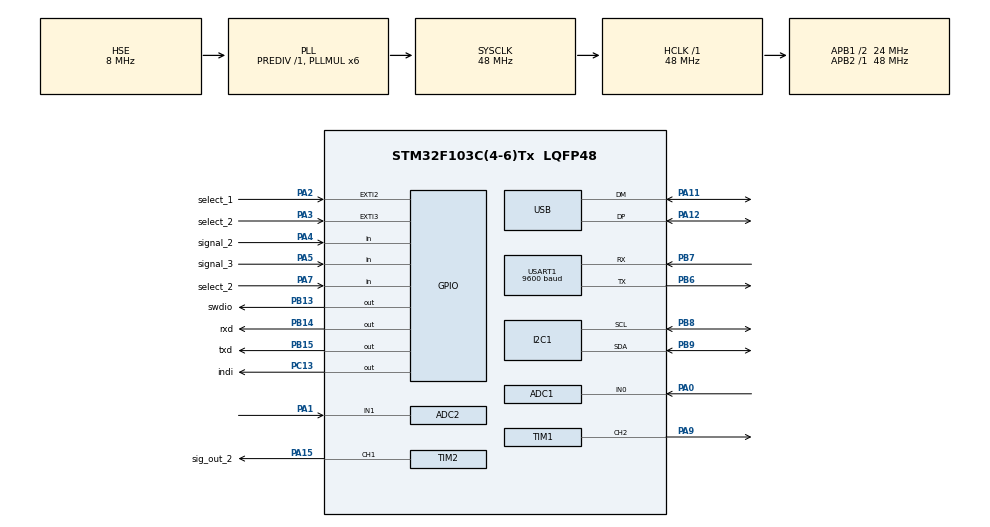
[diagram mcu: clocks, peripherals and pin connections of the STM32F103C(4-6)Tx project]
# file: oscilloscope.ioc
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ADC1.Channel-2\#ChannelRegularConversion=ADC_CHANNEL_0
ADC1.ContinuousConvMode=DISABLE
ADC1.NbrOfConversionFlag=1
ADC1.Rank-2\#ChannelRegularConversion=1
ADC1.SamplingTime-2\#ChannelRegularConversion=ADC_SAMPLETIME_71CYCLES_5
ADC1.master=1
ADC2.Channel-2\#ChannelRegularConversion=ADC_CHANNEL_1
ADC2.NbrOfConversionFlag=1
ADC2.Rank-2\#ChannelRegularConversion=1
ADC2.SamplingTime-2\#ChannelRegularConversion=ADC_SAMPLETIME_71CYCLES_5
FREERTOS.INCLUDE_xTaskGetCurrentTaskHandle=1
FREERTOS.Tasks01=wave_gen,24,128,start_wave_gen,Default,NULL,Dynamic,NULL,NULL;read_wave,24,128,StartRead,Default,NULL,Dynamic,NULL,NULL;display,8,128,StartDisplay,Default,NULL,Dynamic,NULL,NULL;monitor,48,128,StartMonitor,Default,NULL,Dynamic,NULL,NULL
FREERTOS.configTOTAL_HEAP_SIZE=2800
FREERTOS.configUSE_NEWLIB_REENTRANT=1
Mcu.Family=STM32F1
Mcu.Name=STM32F103C(4-6)Tx
Mcu.Package=LQFP48
NVIC.ADC1_2_IRQn=true\:5\:0\:false\:false\:true\:true\:true\:true\:true
NVIC.EXTI2_IRQn=true\:5\:0\:false\:false\:true\:true\:true\:true\:true
NVIC.EXTI3_IRQn=true\:5\:0\:false\:false\:true\:true\:true\:true\:true
NVIC.PriorityGroup=NVIC_PRIORITYGROUP_4
NVIC.TIM3_IRQn=true\:15\:0\:false\:false\:true\:false\:false\:true\:true
NVIC.TimeBase=TIM3_IRQn
NVIC.TimeBaseIP=TIM3
NVIC.USART1_IRQn=true\:5\:0\:false\:false\:true\:true\:true\:true\:true
PA0-WKUP.Signal=SharedAnalog_PA0
PA1.Signal=SharedAnalog_PA1
PA11.Mode=Device
PA11.Signal=USB_DM
PA12.Mode=Device
PA12.Signal=USB_DP
PA13.Mode=Serial_Wire
PA13.Signal=SYS_JTMS-SWDIO
PA14.Mode=Serial_Wire
PA14.Signal=SYS_JTCK-SWCLK
PA15.GPIO_Label=sig_out_2
PA15.Signal=S_TIM2_CH1_ETR
PA2.GPIO_Label=select_1
PA2.GPIO_ModeDefaultEXTI=GPIO_MODE_IT_FALLING
PA2.GPIO_PuPd=GPIO_PULLUP
PA2.Signal=GPXTI2
PA3.GPIO_Label=select_2
PA3.GPIO_ModeDefaultEXTI=GPIO_MODE_IT_FALLING
PA3.GPIO_PuPd=GPIO_PULLUP
PA3.Signal=GPXTI3
PA4.GPIO_Label=signal_2
PA4.Signal=GPIO_Input
PA5.GPIO_Label=signal_3
PA5.Signal=GPIO_Input
PA6.GPIO_Label=sig_out_3
PA6.Signal=S_TIM3_CH1
PA7.GPIO_Label=select_2
PA7.Signal=GPIO_Input
PA9.Signal=S_TIM1_CH2
PB13.GPIO_Label=swdio
PB13.Signal=GPIO_Output
PB14.GPIO_Label=rxd
PB14.Signal=GPIO_Output
PB15.GPIO_Label=txd
PB15.Signal=GPIO_Output
PB6.Mode=Asynchronous
PB6.Signal=USART1_TX
PB7.Mode=Asynchronous
PB7.Signal=USART1_RX
PB8.Mode=I2C
PB8.Signal=I2C1_SCL
PB9.Mode=I2C
PB9.Signal=I2C1_SDA
PC13-TAMPER-RTC.GPIO_Label=indi
PC13-TAMPER-RTC.Signal=GPIO_Output
PD0-OSC_IN.Mode=HSE-External-Oscillator
PD0-OSC_IN.Signal=RCC_OSC_IN
PD1-OSC_OUT.Mode=HSE-External-Oscillator
PD1-OSC_OUT.Signal=RCC_OSC_OUT
ProjectManager.HeapSize=0x200
ProjectManager.StackSize=0x400
ProjectManager.TargetToolchain=STM32CubeIDE
RCC.ADCPresc=RCC_ADCPCLK2_DIV6
RCC.AHBFreq_Value=48000000
RCC.APB1CLKDivider=RCC_HCLK_DIV2
RCC.APB1Freq_Value=24000000
RCC.APB1TimFreq_Value=48000000
RCC.APB2Freq_Value=48000000
RCC.APB2TimFreq_Value=48000000
RCC.HCLKFreq_Value=48000000
RCC.PLLMUL=RCC_PLL_MUL6
RCC.SYSCLKFreq_VALUE=48000000
RCC.SYSCLKSource=RCC_SYSCLKSOURCE_PLLCLK
RCC.USBFreq_Value=48000000
SH.S_TIM1_CH2.0=TIM1_CH2,PWM Generation2 CH2
SH.S_TIM2_CH1_ETR.0=TIM2_CH1,PWM Generation1 CH1
SH.S_TIM3_CH1.0=TIM3_CH1
SH.SharedAnalog_PA0.0=GPIO_Analog
SH.SharedAnalog_PA0.1=ADC1_IN0,IN0
SH.SharedAnalog_PA1.0=GPIO_Analog
SH.SharedAnalog_PA1.1=ADC2_IN1,IN1
TIM1.Channel-PWM\ Generation2\ CH2=TIM_CHANNEL_2
TIM2.Channel-PWM\ Generation1\ CH1=TIM_CHANNEL_1
USART1.BaudRate=9600
USART1.VirtualMode=VM_ASYNC
VP_FREERTOS_VS_CMSIS_V2.Mode=CMSIS_V2
VP_SYS_VS_tim3.Mode=TIM3
VP_TIM1_VS_ClockSourceINT.Mode=Internal
VP_TIM2_VS_ClockSourceINT.Mode=Internal
board=custom

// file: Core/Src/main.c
/* USER CODE BEGIN Header */
/**
  ******************************************************************************
  * @file           : main.c
  * @brief          : Main program body
  ******************************************************************************
  * @attention
  *
  * Copyright (c) 2026 STMicroelectronics.
  * All rights reserved.
  *
  * This software is licensed under terms that can be found in the LICENSE file
  * in the root directory of this software component.
  * If no LICENSE file comes with this software, it is provided AS-IS.
  *
  ******************************************************************************
  */
/* USER CODE END Header */
#include "main.h"
#include "cmsis_os.h"

/* USER CODE BEGIN Includes */
#include<stdio.h>
#include "ssd1306.h"
#include "ssd1306_fonts.h"
volatile int raw_adc_value1=0;
volatile int raw_adc_value2=0;
uint8_t select1=0;
uint8_t select2=0;
 int fine_max=1;
 int fine_min=9999;
int value_max=1;
 int value_min=9999;
volatile int freq=0;
uint8_t flag_1=0;
uint8_t window=5;
int duty_cycle=80;
  char freq_text[10];
  char duty_cyc[5];
int port=0;
int pwm_log=0;
char slp[5];
int edit=0;
char channel='T';
uint8_t ch_assig=0;
const uint8_t sine_wave[40] = {
    10, 12, 13, 15, 16, 17, 18, 19, 20, 20,
    20, 20, 20, 19, 18, 17, 16, 15, 13, 12,
    10,  8,  7,  5,  4,  3,  2,  1,  0,  0,
     0,  0,  0,  1,  2,  3,  4,  5,  7,  8
};
/* USER CODE END Includes */

ADC_HandleTypeDef hadc1;
ADC_HandleTypeDef hadc2;

I2C_HandleTypeDef hi2c1;

TIM_HandleTypeDef htim1;
TIM_HandleTypeDef htim2;

UART_HandleTypeDef huart1;

PCD_HandleTypeDef hpcd_USB_FS;

/* Definitions for wave_gen */
osThreadId_t wave_genHandle;
const osThreadAttr_t wave_gen_attributes = {
  .name = "wave_gen",
  .stack_size = 128 * 4,
  .priority = (osPriority_t) osPriorityNormal,
};
/* Definitions for read_wave */
osThreadId_t read_waveHandle;
const osThreadAttr_t read_wave_attributes = {
  .name = "read_wave",
  .stack_size = 128 * 4,
  .priority = (osPriority_t) osPriorityNormal,
};
/* Definitions for display */
osThreadId_t displayHandle;
const osThreadAttr_t display_attributes = {
  .name = "display",
  .stack_size = 128 * 4,
  .priority = (osPriority_t) osPriorityLow,
};
/* Definitions for monitor */
osThreadId_t monitorHandle;
const osThreadAttr_t monitor_attributes = {
  .name = "monitor",
  .stack_size = 128 * 4,
  .priority = (osPriority_t) osPriorityRealtime,
};
/* USER CODE BEGIN PV */

void set_dynamic_frequency(uint32_t target_freq ,int duty)
{
    if (target_freq == 0) return;

    uint32_t timer_clock = 48000000; // 48 MHz base clock
    uint32_t total_divider = timer_clock / target_freq;
    uint32_t psc = (total_divider - 1) / 65536;

     uint32_t arr = (total_divider / (psc + 1)) - 1;

     __HAL_TIM_SET_PRESCALER(&htim1, psc);
    __HAL_TIM_SET_AUTORELOAD(&htim1, arr);

    uint32_t dynamic_pulse = (duty * (arr + 1)) /100;
    __HAL_TIM_SET_COMPARE(&htim1, TIM_CHANNEL_2, dynamic_pulse);
}
//getting control signal using interrupts

void HAL_ADC_ConvCpltCallback(ADC_HandleTypeDef* hadc)
{
    if(hadc->Instance == ADC1)
    {
    	raw_adc_value1 = HAL_ADC_GetValue(&hadc1);
    	 		          if (value_max<raw_adc_value1)
    	 		        	 value_max=raw_adc_value1;
    	 		         if (value_min>raw_adc_value1)
    						 value_min=raw_adc_value1;
    }
    else if (hadc->Instance==ADC2)

    { raw_adc_value2 = HAL_ADC_GetValue(&hadc2);
	   if (fine_max<raw_adc_value2)
				 fine_max=raw_adc_value2;
			 if (fine_min>raw_adc_value2)
				 fine_min=raw_adc_value2;

 }
    HAL_GPIO_TogglePin(GPIOC, indi_Pin);

}
void  HAL_GPIO_EXTI_Callback(uint16_t select_1){
	if (select_1==select_1_Pin){
flag_1=1;}
else if (select_1==select_2_Pin){
	flag_1=2;}
	edit=1;
	osThreadFlagsSet(monitorHandle, 0x01);

}

// all control signal geted

void set_wave(int freq,int channel)
{
    switch (channel){
	case 1:
	    __HAL_TIM_SET_COMPARE(&htim1, TIM_CHANNEL_1, freq);
	    break;
	case 2:
		__HAL_TIM_SET_COMPARE(&htim2, TIM_CHANNEL_1, freq);
		break;
      }
}

/* USER CODE END PV */

void SystemClock_Config(void);
static void MX_GPIO_Init(void);
static void MX_ADC1_Init(void);
static void MX_I2C1_Init(void);
static void MX_TIM1_Init(void);
static void MX_TIM2_Init(void);
static void MX_USART1_UART_Init(void);
static void MX_USB_PCD_Init(void);
static void MX_ADC2_Init(void);
void start_wave_gen(void *argument);
void StartRead(void *argument);
void StartDisplay(void *argument);
void StartMonitor(void *argument);

int main(void)
{

  /* MCU Configuration--------------------------------------------------------*/

  /* Reset of all peripherals, Initializes the Flash interface and the Systick. */
  HAL_Init();

  /* Configure the system clock */
  SystemClock_Config();

  /* Initialize all configured peripherals */
  MX_GPIO_Init();
  MX_ADC1_Init();
  MX_I2C1_Init();
  MX_TIM1_Init();
  MX_TIM2_Init();
  MX_USART1_UART_Init();
  MX_USB_PCD_Init();
  MX_ADC2_Init();
  /* USER CODE BEGIN 2 */
  HAL_ADCEx_Calibration_Start(&hadc1);
    HAL_ADCEx_Calibration_Start(&hadc2);
    HAL_TIM_PWM_Start(&htim1, TIM_CHANNEL_2);
  /* USER CODE END 2 */

  /* Init scheduler */
  osKernelInitialize();

  /* Create the thread(s) */
  /* creation of wave_gen */
  wave_genHandle = osThreadNew(start_wave_gen, NULL, &wave_gen_attributes);

  /* creation of read_wave */
  read_waveHandle = osThreadNew(StartRead, NULL, &read_wave_attributes);

  /* creation of display */
  displayHandle = osThreadNew(StartDisplay, NULL, &display_attributes);

  /* creation of monitor */
  monitorHandle = osThreadNew(StartMonitor, NULL, &monitor_attributes);

  /* Start scheduler */
  osKernelStart();

  /* We should never get here as control is now taken by the scheduler */

  /* Infinite loop */
  while (1)
  {

  }
}

void SystemClock_Config(void)
{
  RCC_OscInitTypeDef RCC_OscInitStruct = {0};
  RCC_ClkInitTypeDef RCC_ClkInitStruct = {0};
  RCC_PeriphCLKInitTypeDef PeriphClkInit = {0};

  /** Initializes the RCC Oscillators according to the specified parameters
  * in the RCC_OscInitTypeDef structure.
  */
  RCC_OscInitStruct.OscillatorType = RCC_OSCILLATORTYPE_HSE;
  RCC_OscInitStruct.HSEState = RCC_HSE_ON;
  RCC_OscInitStruct.HSEPredivValue = RCC_HSE_PREDIV_DIV1;
  RCC_OscInitStruct.HSIState = RCC_HSI_ON;
  RCC_OscInitStruct.PLL.PLLState = RCC_PLL_ON;
  RCC_OscInitStruct.PLL.PLLSource = RCC_PLLSOURCE_HSE;
  RCC_OscInitStruct.PLL.PLLMUL = RCC_PLL_MUL6;
  if (HAL_RCC_OscConfig(&RCC_OscInitStruct) != HAL_OK)
  {
    Error_Handler();
  }

  /** Initializes the CPU, AHB and APB buses clocks
  */
  RCC_ClkInitStruct.ClockType = RCC_CLOCKTYPE_HCLK|RCC_CLOCKTYPE_SYSCLK
                              |RCC_CLOCKTYPE_PCLK1|RCC_CLOCKTYPE_PCLK2;
  RCC_ClkInitStruct.SYSCLKSource = RCC_SYSCLKSOURCE_PLLCLK;
  RCC_ClkInitStruct.AHBCLKDivider = RCC_SYSCLK_DIV1;
  RCC_ClkInitStruct.APB1CLKDivider = RCC_HCLK_DIV2;
  RCC_ClkInitStruct.APB2CLKDivider = RCC_HCLK_DIV1;

  if (HAL_RCC_ClockConfig(&RCC_ClkInitStruct, FLASH_LATENCY_1) != HAL_OK)
  {
    Error_Handler();
  }
  PeriphClkInit.PeriphClockSelection = RCC_PERIPHCLK_ADC|RCC_PERIPHCLK_USB;
  PeriphClkInit.AdcClockSelection = RCC_ADCPCLK2_DIV6;
  PeriphClkInit.UsbClockSelection = RCC_USBCLKSOURCE_PLL;
  if (HAL_RCCEx_PeriphCLKConfig(&PeriphClkInit) != HAL_OK)
  {
    Error_Handler();
  }
}

static void MX_ADC1_Init(void)
{

  ADC_ChannelConfTypeDef sConfig = {0};

  /** Common config
  */
  hadc1.Instance = ADC1;
  hadc1.Init.ScanConvMode = ADC_SCAN_DISABLE;
  hadc1.Init.ContinuousConvMode = DISABLE;
  hadc1.Init.DiscontinuousConvMode = DISABLE;
  hadc1.Init.ExternalTrigConv = ADC_SOFTWARE_START;
  hadc1.Init.DataAlign = ADC_DATAALIGN_RIGHT;
  hadc1.Init.NbrOfConversion = 1;
  if (HAL_ADC_Init(&hadc1) != HAL_OK)
  {
    Error_Handler();
  }

  /** Configure Regular Channel
  */
  sConfig.Channel = ADC_CHANNEL_0;
  sConfig.Rank = ADC_REGULAR_RANK_1;
  sConfig.SamplingTime = ADC_SAMPLETIME_71CYCLES_5;
  if (HAL_ADC_ConfigChannel(&hadc1, &sConfig) != HAL_OK)
  {
    Error_Handler();
  }

}

static void MX_ADC2_Init(void)
{

  ADC_ChannelConfTypeDef sConfig = {0};

  /** Common config
  */
  hadc2.Instance = ADC2;
  hadc2.Init.ScanConvMode = ADC_SCAN_DISABLE;
  hadc2.Init.ContinuousConvMode = DISABLE;
  hadc2.Init.DiscontinuousConvMode = DISABLE;
  hadc2.Init.ExternalTrigConv = ADC_SOFTWARE_START;
  hadc2.Init.DataAlign = ADC_DATAALIGN_RIGHT;
  hadc2.Init.NbrOfConversion = 1;
  if (HAL_ADC_Init(&hadc2) != HAL_OK)
  {
    Error_Handler();
  }

  /** Configure Regular Channel
  */
  sConfig.Channel = ADC_CHANNEL_1;
  sConfig.Rank = ADC_REGULAR_RANK_1;
  sConfig.SamplingTime = ADC_SAMPLETIME_71CYCLES_5;
  if (HAL_ADC_ConfigChannel(&hadc2, &sConfig) != HAL_OK)
  {
    Error_Handler();
  }

}

static void MX_I2C1_Init(void)
{

  hi2c1.Instance = I2C1;
  hi2c1.Init.ClockSpeed = 100000;
  hi2c1.Init.DutyCycle = I2C_DUTYCYCLE_2;
  hi2c1.Init.OwnAddress1 = 0;
  hi2c1.Init.AddressingMode = I2C_ADDRESSINGMODE_7BIT;
  hi2c1.Init.DualAddressMode = I2C_DUALADDRESS_DISABLE;
  hi2c1.Init.OwnAddress2 = 0;
  hi2c1.Init.GeneralCallMode = I2C_GENERALCALL_DISABLE;
  hi2c1.Init.NoStretchMode = I2C_NOSTRETCH_DISABLE;
  if (HAL_I2C_Init(&hi2c1) != HAL_OK)
  {
    Error_Handler();
  }

}

static void MX_TIM1_Init(void)
{

  TIM_ClockConfigTypeDef sClockSourceConfig = {0};
  TIM_MasterConfigTypeDef sMasterConfig = {0};
  TIM_OC_InitTypeDef sConfigOC = {0};
  TIM_BreakDeadTimeConfigTypeDef sBreakDeadTimeConfig = {0};

  htim1.Instance = TIM1;
  htim1.Init.Prescaler = 0;
  htim1.Init.CounterMode = TIM_COUNTERMODE_UP;
  htim1.Init.Period = 65535;
  htim1.Init.ClockDivision = TIM_CLOCKDIVISION_DIV1;
  htim1.Init.RepetitionCounter = 0;
  htim1.Init.AutoReloadPreload = TIM_AUTORELOAD_PRELOAD_DISABLE;
  if (HAL_TIM_Base_Init(&htim1) != HAL_OK)
  {
    Error_Handler();
  }
  sClockSourceConfig.ClockSource = TIM_CLOCKSOURCE_INTERNAL;
  if (HAL_TIM_ConfigClockSource(&htim1, &sClockSourceConfig) != HAL_OK)
  {
    Error_Handler();
  }
  if (HAL_TIM_PWM_Init(&htim1) != HAL_OK)
  {
    Error_Handler();
  }
  sMasterConfig.MasterOutputTrigger = TIM_TRGO_RESET;
  sMasterConfig.MasterSlaveMode = TIM_MASTERSLAVEMODE_DISABLE;
  if (HAL_TIMEx_MasterConfigSynchronization(&htim1, &sMasterConfig) != HAL_OK)
  {
    Error_Handler();
  }
  sConfigOC.OCMode = TIM_OCMODE_PWM1;
  sConfigOC.Pulse = 0;
  sConfigOC.OCPolarity = TIM_OCPOLARITY_HIGH;
  sConfigOC.OCNPolarity = TIM_OCNPOLARITY_HIGH;
  sConfigOC.OCFastMode = TIM_OCFAST_DISABLE;
  sConfigOC.OCIdleState = TIM_OCIDLESTATE_RESET;
  sConfigOC.OCNIdleState = TIM_OCNIDLESTATE_RESET;
  if (HAL_TIM_PWM_ConfigChannel(&htim1, &sConfigOC, TIM_CHANNEL_2) != HAL_OK)
  {
    Error_Handler();
  }
  sBreakDeadTimeConfig.OffStateRunMode = TIM_OSSR_DISABLE;
  sBreakDeadTimeConfig.OffStateIDLEMode = TIM_OSSI_DISABLE;
  sBreakDeadTimeConfig.LockLevel = TIM_LOCKLEVEL_OFF;
  sBreakDeadTimeConfig.DeadTime = 0;
  sBreakDeadTimeConfig.BreakState = TIM_BREAK_DISABLE;
  sBreakDeadTimeConfig.BreakPolarity = TIM_BREAKPOLARITY_HIGH;
  sBreakDeadTimeConfig.AutomaticOutput = TIM_AUTOMATICOUTPUT_DISABLE;
  if (HAL_TIMEx_ConfigBreakDeadTime(&htim1, &sBreakDeadTimeConfig) != HAL_OK)
  {
    Error_Handler();
  }
  HAL_TIM_MspPostInit(&htim1);

}

static void MX_TIM2_Init(void)
{

  TIM_ClockConfigTypeDef sClockSourceConfig = {0};
  TIM_MasterConfigTypeDef sMasterConfig = {0};
  TIM_OC_InitTypeDef sConfigOC = {0};

  htim2.Instance = TIM2;
  htim2.Init.Prescaler = 0;
  htim2.Init.CounterMode = TIM_COUNTERMODE_UP;
  htim2.Init.Period = 65535;
  htim2.Init.ClockDivision = TIM_CLOCKDIVISION_DIV1;
  htim2.Init.AutoReloadPreload = TIM_AUTORELOAD_PRELOAD_DISABLE;
  if (HAL_TIM_Base_Init(&htim2) != HAL_OK)
  {
    Error_Handler();
  }
  sClockSourceConfig.ClockSource = TIM_CLOCKSOURCE_INTERNAL;
  if (HAL_TIM_ConfigClockSource(&htim2, &sClockSourceConfig) != HAL_OK)
  {
    Error_Handler();
  }
  if (HAL_TIM_PWM_Init(&htim2) != HAL_OK)
  {
    Error_Handler();
  }
  sMasterConfig.MasterOutputTrigger = TIM_TRGO_RESET;
  sMasterConfig.MasterSlaveMode = TIM_MASTERSLAVEMODE_DISABLE;
  if (HAL_TIMEx_MasterConfigSynchronization(&htim2, &sMasterConfig) != HAL_OK)
  {
    Error_Handler();
  }
  sConfigOC.OCMode = TIM_OCMODE_PWM1;
  sConfigOC.Pulse = 0;
  sConfigOC.OCPolarity = TIM_OCPOLARITY_HIGH;
  sConfigOC.OCFastMode = TIM_OCFAST_DISABLE;
  if (HAL_TIM_PWM_ConfigChannel(&htim2, &sConfigOC, TIM_CHANNEL_1) != HAL_OK)
  {
    Error_Handler();
  }
  HAL_TIM_MspPostInit(&htim2);

}

static void MX_USART1_UART_Init(void)
{

  huart1.Instance = USART1;
  huart1.Init.BaudRate = 9600;
  huart1.Init.WordLength = UART_WORDLENGTH_8B;
  huart1.Init.StopBits = UART_STOPBITS_1;
  huart1.Init.Parity = UART_PARITY_NONE;
  huart1.Init.Mode = UART_MODE_TX_RX;
  huart1.Init.HwFlowCtl = UART_HWCONTROL_NONE;
  huart1.Init.OverSampling = UART_OVERSAMPLING_16;
  if (HAL_UART_Init(&huart1) != HAL_OK)
  {
    Error_Handler();
  }

}

static void MX_USB_PCD_Init(void)
{

  hpcd_USB_FS.Instance = USB;
  hpcd_USB_FS.Init.dev_endpoints = 8;
  hpcd_USB_FS.Init.speed = PCD_SPEED_FULL;
  hpcd_USB_FS.Init.low_power_enable = DISABLE;
  hpcd_USB_FS.Init.lpm_enable = DISABLE;
  hpcd_USB_FS.Init.battery_charging_enable = DISABLE;
  if (HAL_PCD_Init(&hpcd_USB_FS) != HAL_OK)
  {
    Error_Handler();
  }

}

static void MX_GPIO_Init(void)
{
  GPIO_InitTypeDef GPIO_InitStruct = {0};

  /* GPIO Ports Clock Enable */
  __HAL_RCC_GPIOC_CLK_ENABLE();
  __HAL_RCC_GPIOD_CLK_ENABLE();
  __HAL_RCC_GPIOA_CLK_ENABLE();
  __HAL_RCC_GPIOB_CLK_ENABLE();

  /*Configure GPIO pin Output Level */
  HAL_GPIO_WritePin(indi_GPIO_Port, indi_Pin, GPIO_PIN_RESET);

  /*Configure GPIO pin Output Level */
  HAL_GPIO_WritePin(GPIOB, swdio_Pin|rxd_Pin|txd_Pin, GPIO_PIN_RESET);

  /*Configure GPIO pin : indi_Pin */
  GPIO_InitStruct.Pin = indi_Pin;
  GPIO_InitStruct.Mode = GPIO_MODE_OUTPUT_PP;
  GPIO_InitStruct.Pull = GPIO_NOPULL;
  GPIO_InitStruct.Speed = GPIO_SPEED_FREQ_LOW;
  HAL_GPIO_Init(indi_GPIO_Port, &GPIO_InitStruct);

  /*Configure GPIO pins : select_1_Pin select_2_Pin */
  GPIO_InitStruct.Pin = select_1_Pin|select_2_Pin;
  GPIO_InitStruct.Mode = GPIO_MODE_IT_FALLING;
  GPIO_InitStruct.Pull = GPIO_PULLUP;
  HAL_GPIO_Init(GPIOA, &GPIO_InitStruct);

  /*Configure GPIO pins : signal_2_Pin signal_3_Pin select_2A7_Pin */
  GPIO_InitStruct.Pin = signal_2_Pin|signal_3_Pin|select_2A7_Pin;
  GPIO_InitStruct.Mode = GPIO_MODE_INPUT;
  GPIO_InitStruct.Pull = GPIO_NOPULL;
  HAL_GPIO_Init(GPIOA, &GPIO_InitStruct);

  /*Configure GPIO pin : sig_out_3_Pin */
  GPIO_InitStruct.Pin = sig_out_3_Pin;
  GPIO_InitStruct.Mode = GPIO_MODE_AF_PP;
  GPIO_InitStruct.Speed = GPIO_SPEED_FREQ_LOW;
  HAL_GPIO_Init(sig_out_3_GPIO_Port, &GPIO_InitStruct);

  /*Configure GPIO pins : swdio_Pin rxd_Pin txd_Pin */
  GPIO_InitStruct.Pin = swdio_Pin|rxd_Pin|txd_Pin;
  GPIO_InitStruct.Mode = GPIO_MODE_OUTPUT_PP;
  GPIO_InitStruct.Pull = GPIO_NOPULL;
  GPIO_InitStruct.Speed = GPIO_SPEED_FREQ_LOW;
  HAL_GPIO_Init(GPIOB, &GPIO_InitStruct);

  /* EXTI interrupt init*/
  HAL_NVIC_SetPriority(EXTI2_IRQn, 5, 0);
  HAL_NVIC_EnableIRQ(EXTI2_IRQn);

  HAL_NVIC_SetPriority(EXTI3_IRQn, 5, 0);
  HAL_NVIC_EnableIRQ(EXTI3_IRQn);

}

void start_wave_gen(void *argument)
{
  /* USER CODE BEGIN 5 */
  /* Infinite loop */
  for(;;)
  {

	  if (select1==1)
		  if (select1==1||select1==2)
	  set_wave(freq,select1);
    osDelay(1);
  }
  /* USER CODE END 5 */
}

void StartRead(void *argument)
{
  for(;;)
  {
    osDelay(1);
  }
}

void StartDisplay(void *argument)
{
  /* USER CODE BEGIN StartDisplay */
	ssd1306_Init();
	char wave_menu[5][9]={"Sine","Triangle","Square","Noise","Dc"};
	char menu[5][7]={"Waves","oscill.","port","pwm","config"};
	char ffreq[3][4]={"Hz","Khz","Mhz"};
	int freq_mul[3]={1,1000,1000000};
	char ports[2][2]={"A","B"};

  /* Infinite loop */

	  int scroll=0,temp=0;

   for(;;)
  {
	  if (scroll==0 && select2==1){
	 	  		  window=1;
	 	  	  }
	  if (scroll==1 && select2==1){
	 	 	  		  window=2;
	 	 	  	  }
	  if (scroll==2 && select2==1){
		  window=3;
	  }
	  if (scroll==3 && select2==1){
		  window=4;
	  }
	  if (scroll==4 && select2==1){
		  window=5;
	  }
	  if (ch_assig&&window!=3){
	  	  		if (select1==1)
	  			  channel='B';
	  	    else
	  			  channel='A';
	  	  	}
	  ch_assig=0;
	  duty_cycle=raw_adc_value1*100/(value_max-value_min);//100/(value_max-value_min)*
	  freq=raw_adc_value2*1000/(fine_max-fine_min);
	  sprintf(freq_text, "%d", freq );
	  sprintf(duty_cyc, "%d", duty_cycle);//
	  ssd1306_Fill(Black);
		 ssd1306_Line(80, 0, 80, 31, White);
		 ssd1306_Line(20, 0, 20, 31, White);
		 ssd1306_Line(0, 19, 20, 19, White);

if (pwm_log){
	ssd1306_SetCursor(2, 22);
	  ssd1306_WriteString("pwm",  Font_6x8, White);
}
else {
	ssd1306_SetCursor(1, 0);
		 		  ssd1306_WriteChar('A',  Font_6x8, White);
		 		 ssd1306_SetCursor(2, 11);
				ssd1306_WriteChar('B',  Font_6x8, White);
		 ssd1306_SetCursor(3, 22);
		  ssd1306_WriteString(";)",  Font_7x10, White);
	 ssd1306_Line(0, 9, 20, 9, White);
	 if (channel=='A'){
	ssd1306_FillRectangle(0, 0,20,9, White);
	ssd1306_SetCursor(1, 0);
		  ssd1306_WriteString("A",  Font_6x8, Black);}
	 if (channel=='B'){
			ssd1306_FillRectangle(0, 9,20,20, White);
			ssd1306_SetCursor(2, 11);
		  	ssd1306_WriteString("B",  Font_6x8, Black);
	 }

}

	  if (window==0){
		  scroll=select1;
		  if (select1<3)
	  	  temp=select1;
	  	 for(int i=0;i<3;i++){
	  				 ssd1306_SetCursor(85, i*10+2);
	  				  ssd1306_WriteString(menu[i+select1-temp],  Font_6x8, White);
	  			 }
	  	 	    	ssd1306_FillRectangle(80, temp*10, 128, (scroll+1)*10, White);
	  		  	  ssd1306_SetCursor(85, temp*10+2);
	  		  	  ssd1306_WriteString(menu[select1],  Font_6x8, Black);
	  }

	  	  if (window==1){

	  		if (select2==0)
	  	  window=0;
	  		if (select1<3)
			  temp=select1;
//	  		int sst=select1;
//	  		if (select1==3)
//	  			sst=2;
	  		for(int i=0;i<3;i++){
	  					 ssd1306_SetCursor(22, i*10+2);
	  					  ssd1306_WriteString(wave_menu[i+select1-temp],  Font_6x8, White);
	  				 }
	  				ssd1306_FillRectangle(20, temp*10, 80, (select1+1)*10, White);
	  				ssd1306_SetCursor(22, temp*10+2);
	  				ssd1306_WriteString(wave_menu[select1],  Font_6x8, Black);
	  		if (select1==0)
	  		{for(int i=85;i<125;i++){
	  			ssd1306_DrawPixel(i, sine_wave[i-85],White);
	  		}}
	  		if (select1==1){
		  		int slope=raw_adc_value1*100/(value_max-value_min)-50;
		  		int temp=1;
		  		if (slope<0)
		  			temp=-1;
		  		sprintf(slp,"%d.%d",slope/10,temp*slope%10);
		  		int j=0;
	  			int mul=-1;
	  			for (int i=0;i<40;i++){
	  				if (i%10==0)
	  					mul=mul*-1;
	  				if (mul==-1)
	  					j--;
	  				else j++;
	  				ssd1306_SetCursor(85, 1);
	  				ssd1306_WriteString("S=", Font_6x8, White);
	  				ssd1306_SetCursor(99, 1);
					ssd1306_WriteString(slp, Font_6x8, White);
 					 ssd1306_DrawPixel(i+85, slope*j/10+20, White);

	  			}
	  		}
	  		if (select1==2){
	  			ssd1306_Line(95, 1, 95, 16, White);
				ssd1306_Line(125, 1, 125, 16, White);
				ssd1306_Line(110, 1, 110, 16,White);
				ssd1306_Line(95,1,110,1,White);
				ssd1306_Line(110,16,125,16,White);
				ssd1306_SetCursor(85, 22);
				ssd1306_WriteString("F=", Font_6x8, White);
				ssd1306_SetCursor(99, 22);
				ssd1306_WriteString(freq_text, Font_6x8, White);
		  		set_dynamic_frequency(freq*freq_mul[select1],duty_cycle);
	  		}
	  		if (select1==4){
	  			ssd1306_Line(95, 22, 125, 22, White);
		  		set_dynamic_frequency(100,100);//thinking that 100 % duty cycle means always high maze maze ke liye 100 hz
	  			//	  			edit=0;
//	  			char message[]="use PWM for this  ";
//	  			int j=0;
//	  			int cct=0;
//	  			while(message[j+cct]!='\0'){
//	  				if (edit==1)
//	  					break;
//	  				j++;
//	  				if (j==6){
//			  	 		 ssd1306_UpdateScreen();
//	  					j=0;
//	  					cct++;
//	  				}
//		  			ssd1306_SetCursor(85+j*6, 10);
//		  			ssd1306_WriteChar(message[j+cct], Font_6x8, White);
//		  			osDelay(15);
//	  			}

	  	  }
	  	  }
	  	  if (window==2){
	  		  window=0;

	  	  }
	  	if (window==3){
				if (select2==0)
			  window=0;
				if (select1>1)
					select1=0;
			for(int i=0;i<2;i++){
			 ssd1306_SetCursor(22, i*10+2);
			  ssd1306_WriteString(ports[i],  Font_6x8, White);
			 }
			ssd1306_FillRectangle(20, select1*10, 80, (select1+1)*10, White);
			port=select1;
			  ssd1306_SetCursor(22, select1*10+2);
			  ssd1306_WriteString(ports[select1],  Font_6x8, Black);
			 ch_assig=1;

	  		  	  }

	  	if (window==4){
	  		pwm_log=1;
	  		if (select2==0){
	  			  	  window=0;
	  			  	  pwm_log=0;
	  		}

	  			  ssd1306_SetCursor(1,9);
				  ssd1306_WriteString(ffreq[select1],  Font_6x8, White);

	  		if (select1==3)
					select1=0;
	  			if (select1==2)
					if (freq>47)
				freq=47;

	  		set_dynamic_frequency(freq*freq_mul[select1],duty_cycle);

	  	ssd1306_Line(25, 5, 25, 20, White);
	  	ssd1306_Line(75, 5, 75, 20, White);
	  	ssd1306_Line(50*duty_cycle/100+25, 5, 50*duty_cycle/100+25, 20,White);
	  	ssd1306_Line(25,5,50*duty_cycle/100+25,5,White);
	  	ssd1306_Line(50*duty_cycle/100+25,20,75,20,White);
	  	ssd1306_SetCursor(85,1);
	    ssd1306_WriteString("Freq.=  ",  Font_6x8, White);
	  	ssd1306_SetCursor(85,9);
	    ssd1306_WriteString(freq_text,  Font_6x8, White);
	  	ssd1306_Line(80, 17, 128, 17, White);
	  	ssd1306_SetCursor(85,20);
	  	ssd1306_WriteString("Dt=",  Font_6x8, White);
	  	ssd1306_SetCursor(105,20);
	  	ssd1306_WriteString(duty_cyc,  Font_6x8, White);

	  	}
	  	if (window==5){
	  		if (select2==0)
				  window=0;
	  		ssd1306_SetCursor(25,2);
	  		ssd1306_WriteString("select_reg",  Font_6x8, White);

	  	}
 		 ssd1306_UpdateScreen();

  }
  /* USER CODE END StartDisplay */
}

void StartMonitor(void *argument)
{
  /* USER CODE BEGIN StartMonitor */
  /* Infinite loop */
  for(;;)
 {

	  HAL_ADC_Start_IT(&hadc1);
	  osDelay(300);
  HAL_ADC_Start_IT(&hadc2);

	  osThreadFlagsWait(0x01, osFlagsWaitAny,10);
	  if (flag_1==1){
		  select1++;
		  if (select1==5)
			  select1=0;
	  }
	  if (flag_1==2){
	  		  select2++;
	  		  if (select2==2)
	  			  select2=0;
	  	  }

	  flag_1=0;
    osThreadFlagsClear(0x01);
  }
  /* USER CODE END StartMonitor */
}

void HAL_TIM_PeriodElapsedCallback(TIM_HandleTypeDef *htim)
{
  if (htim->Instance == TIM3) {
    HAL_IncTick();
  }
}

void Error_Handler(void)
{
  __disable_irq();
  while (1)
  {
  }
}
